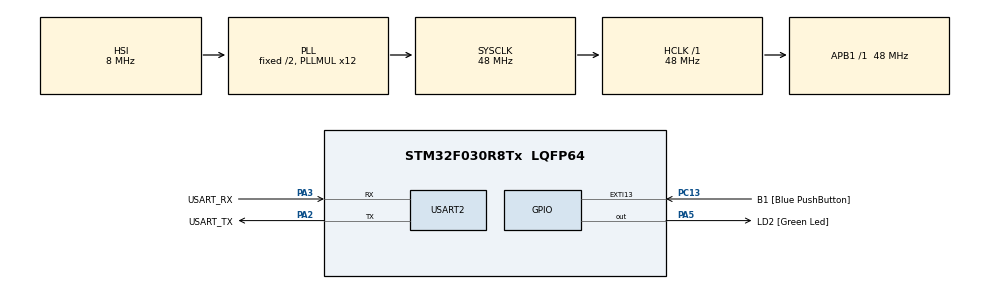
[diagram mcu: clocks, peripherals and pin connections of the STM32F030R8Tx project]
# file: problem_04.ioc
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Mcu.Family=STM32F0
Mcu.Name=STM32F030R8Tx
Mcu.Package=LQFP64
NVIC.EXTI4_15_IRQn=true\:0\:0\:false\:false\:true\:true\:true\:true
PA13.GPIO_Label=TMS
PA13.Mode=Serial_Wire
PA13.Signal=SYS_SWDIO
PA14.GPIO_Label=TCK
PA14.Mode=Serial_Wire
PA14.Signal=SYS_SWCLK
PA2.GPIO_Label=USART_TX
PA2.GPIO_Mode=GPIO_MODE_AF_PP
PA2.GPIO_PuPd=GPIO_NOPULL
PA2.GPIO_Speed=GPIO_SPEED_FREQ_LOW
PA2.Mode=Asynchronous
PA2.Signal=USART2_TX
PA3.GPIO_Label=USART_RX
PA3.GPIO_Mode=GPIO_MODE_AF_PP
PA3.GPIO_PuPd=GPIO_NOPULL
PA3.GPIO_Speed=GPIO_SPEED_FREQ_LOW
PA3.Mode=Asynchronous
PA3.Signal=USART2_RX
PA5.GPIO_Label=LD2 [Green Led]
PA5.GPIO_Mode=GPIO_MODE_OUTPUT_PP
PA5.GPIO_PuPd=GPIO_NOPULL
PA5.GPIO_Speed=GPIO_SPEED_FREQ_LOW
PA5.Signal=GPIO_Output
PC13.GPIO_Label=B1 [Blue PushButton]
PC13.GPIO_ModeDefaultEXTI=GPIO_MODE_IT_FALLING
PC13.Signal=GPXTI13
PC14-OSC32_IN.Mode=LSE-External-Oscillator
PC14-OSC32_IN.Signal=RCC_OSC32_IN
PC15-OSC32_OUT.Mode=LSE-External-Oscillator
PC15-OSC32_OUT.Signal=RCC_OSC32_OUT
PF0-OSC_IN.Mode=HSE-External-Clock-Source
PF0-OSC_IN.Signal=RCC_OSC_IN
PF1-OSC_OUT.Signal=RCC_OSC_OUT
ProjectManager.HeapSize=0x200
ProjectManager.StackSize=0x400
ProjectManager.TargetToolchain=STM32CubeIDE
RCC.AHBFreq_Value=48000000
RCC.APB1Freq_Value=48000000
RCC.APB1TimFreq_Value=48000000
RCC.HCLKFreq_Value=48000000
RCC.PLLMUL=RCC_PLL_MUL12
RCC.SYSCLKFreq_VALUE=48000000
RCC.SYSCLKSource=RCC_SYSCLKSOURCE_PLLCLK
USART2.VirtualMode-Asynchronous=VM_ASYNC
board=NUCLEO-F030R8

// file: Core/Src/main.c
/* USER CODE BEGIN Header */
/**
  ******************************************************************************
  * @file           : main.c
  * @brief          : Main program body
  ******************************************************************************
  * @attention
  *
  * Copyright (c) 2025 STMicroelectronics.
  * All rights reserved.
  *
  * This software is licensed under terms that can be found in the LICENSE file
  * in the root directory of this software component.
  * If no LICENSE file comes with this software, it is provided AS-IS.
  *
  ******************************************************************************
  */
/* USER CODE END Header */
#include "main.h"
#include "usart.h"
#include "gpio.h"
#include "morse_functions.h"

void SystemClock_Config(void);

/* USER CODE BEGIN 0 */
extern int *pCount;
_Bool taskComplete = true;
_Bool *pTaskComplete = &taskComplete;
/* USER CODE END 0 */

int main(void)
{

  /* MCU Configuration--------------------------------------------------------*/

  /* Reset of all peripherals, Initializes the Flash interface and the Systick. */
  HAL_Init();

  /* Configure the system clock */
  SystemClock_Config();

  /* USER CODE BEGIN SysInit */
  __enable_irq();
  /* USER CODE END SysInit */

  /* Initialize all configured peripherals */
  MX_GPIO_Init();
  MX_USART2_UART_Init();

  /* Infinite loop */
  /* USER CODE BEGIN WHILE */
  while (1)
  {
	  HAL_GPIO_WritePin(LD2_GPIO_Port, LD2_Pin, 0);
	  if(*pTaskComplete){
    /* USER CODE END WHILE */
    /* USER CODE BEGIN 3 */
		switch (*pCount) {
			case 0: {
				HAL_GPIO_WritePin(LD2_GPIO_Port, LD2_Pin, 0);
				break;
			}
			case 1: {
				MORSE_SELECTOR(MORSE_H);
				__WFI();
				break;
			}
			case 2: {
				MORSE_SELECTOR(MORSE_E);

				break;
			}
			case 3: {
				MORSE_SELECTOR(MORSE_L);
				break;
			}
			case 4: {
				MORSE_SELECTOR(MORSE_L);
				break;
			}
			case 5: {
				MORSE_SELECTOR(MORSE_O);
				break;
			}
			case 6: {
				MORSE_SELECTOR(MORSE_W);
				break;
			}
			case 7: {
				MORSE_SELECTOR(MORSE_O);
				break;
			}
			case 8: {
				MORSE_SELECTOR(MORSE_R);
				break;
			}
			case 9: {
				MORSE_SELECTOR(MORSE_L);
				break;
			}
			default:
				MORSE_SELECTOR(MORSE_D);
		}
	  }
  }
  /* USER CODE END 3 */
}

void SystemClock_Config(void)
{
  RCC_OscInitTypeDef RCC_OscInitStruct = {0};
  RCC_ClkInitTypeDef RCC_ClkInitStruct = {0};

  /** Initializes the RCC Oscillators according to the specified parameters
  * in the RCC_OscInitTypeDef structure.
  */
  RCC_OscInitStruct.OscillatorType = RCC_OSCILLATORTYPE_HSI;
  RCC_OscInitStruct.HSIState = RCC_HSI_ON;
  RCC_OscInitStruct.HSICalibrationValue = RCC_HSICALIBRATION_DEFAULT;
  RCC_OscInitStruct.PLL.PLLState = RCC_PLL_ON;
  RCC_OscInitStruct.PLL.PLLSource = RCC_PLLSOURCE_HSI;
  RCC_OscInitStruct.PLL.PLLMUL = RCC_PLL_MUL12;
  RCC_OscInitStruct.PLL.PREDIV = RCC_PREDIV_DIV1;
  if (HAL_RCC_OscConfig(&RCC_OscInitStruct) != HAL_OK)
  {
    Error_Handler();
  }

  /** Initializes the CPU, AHB and APB buses clocks
  */
  RCC_ClkInitStruct.ClockType = RCC_CLOCKTYPE_HCLK|RCC_CLOCKTYPE_SYSCLK
                              |RCC_CLOCKTYPE_PCLK1;
  RCC_ClkInitStruct.SYSCLKSource = RCC_SYSCLKSOURCE_PLLCLK;
  RCC_ClkInitStruct.AHBCLKDivider = RCC_SYSCLK_DIV1;
  RCC_ClkInitStruct.APB1CLKDivider = RCC_HCLK_DIV1;

  if (HAL_RCC_ClockConfig(&RCC_ClkInitStruct, FLASH_LATENCY_1) != HAL_OK)
  {
    Error_Handler();
  }
}

void Error_Handler(void)
{
  __disable_irq();
  while (1)
  {
  }
}
